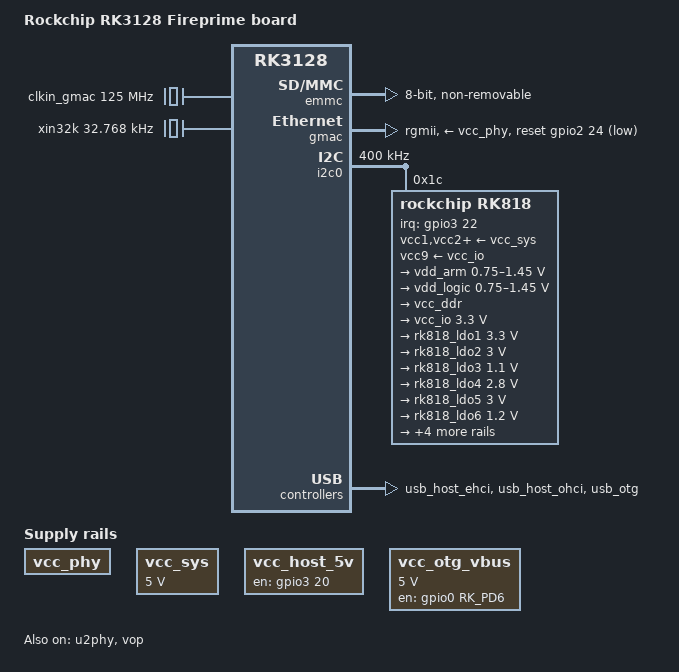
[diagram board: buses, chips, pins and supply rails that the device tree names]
/*
 * This file is dual-licensed: you can use it either under the terms
 * of the GPL or the X11 license, at your option. Note that this dual
 * licensing only applies to this file, and not this project as a
 * whole.
 *
 *  a) This file is free software; you can redistribute it and/or
 *     modify it under the terms of the GNU General Public License as
 *     published by the Free Software Foundation; either version 2 of the
 *     License, or (at your option) any later version.
 *
 *     This file is distributed in the hope that it will be useful,
 *     but WITHOUT ANY WARRANTY; without even the implied warranty of
 *     MERCHANTABILITY or FITNESS FOR A PARTICULAR PURPOSE.  See the
 *     GNU General Public License for more details.
 *
 *  Or, alternatively,
 *
 *  b) Permission is hereby granted, free of charge, to any person
 *     obtaining a copy of this software and associated documentation
 *     files (the "Software"), to deal in the Software without
 *     restriction, including without limitation the rights to use,
 *     copy, modify, merge, publish, distribute, sublicense, and/or
 *     sell copies of the Software, and to permit persons to whom the
 *     Software is furnished to do so, subject to the following
 *     conditions:
 *
 *     The above copyright notice and this permission notice shall be
 *     included in all copies or substantial portions of the Software.
 *
 *     THE SOFTWARE IS PROVIDED "AS IS", WITHOUT WARRANTY OF ANY KIND,
 *     EXPRESS OR IMPLIED, INCLUDING BUT NOT LIMITED TO THE WARRANTIES
 *     OF MERCHANTABILITY, FITNESS FOR A PARTICULAR PURPOSE AND
 *     NONINFRINGEMENT. IN NO EVENT SHALL THE AUTHORS OR COPYRIGHT
 *     HOLDERS BE LIABLE FOR ANY CLAIM, DAMAGES OR OTHER LIABILITY,
 *     WHETHER IN AN ACTION OF CONTRACT, TORT OR OTHERWISE, ARISING
 *     FROM, OUT OF OR IN CONNECTION WITH THE SOFTWARE OR THE USE OR
 *     OTHER DEALINGS IN THE SOFTWARE.
 */

/dts-v1/;
#include <dt-bindings/gpio/gpio.h>
#include <dt-bindings/pinctrl/rockchip.h>
#include <dt-bindings/pwm/pwm.h>
#include "rk3128.dtsi"
#include "rk312x-android.dtsi"

/ {
	model = "Rockchip RK3128 Fireprime board";
	compatible = "rockchip,rk3128";

	fiq-debugger {
		compatible = "rockchip,fiq-debugger";
		rockchip,serial-id = <2>;
		rockchip,signal-irq = <159>;
		rockchip,wake-irq = <0>;
		/* If enable uart uses irq instead of fiq */
		rockchip,irq-mode-enable = <1>;
		rockchip,baudrate = <115200>;  /* Only 115200 and 1500000 */
		interrupts = <GIC_SPI 127 IRQ_TYPE_LEVEL_LOW>;
		status = "okay";
	};

	clkin_gmac: external-gmac-clock {
		compatible = "fixed-clock";
		clock-frequency = <125000000>;
		clock-output-names = "gmac_clkin";
		#clock-cells = <0>;
	};

	vcc_phy: vcc-phy-regulator {
		compatible = "regulator-fixed";
		enable-active-high;
		regulator-name = "vcc_phy";
		regulator-always-on;
		regulator-boot-on;
	};

	vcc_sys: vcc-sys {
		compatible = "regulator-fixed";
		regulator-name = "vcc_sys";
		regulator-always-on;
		regulator-boot-on;
		regulator-min-microvolt = <5000000>;
		regulator-max-microvolt = <5000000>;
	};

	vcc_host_5v: vcc-host-5v-regulator {
		compatible = "regulator-fixed";
		enable-active-high;
		gpio = <&gpio3 20 GPIO_ACTIVE_HIGH>;
		pinctrl-names = "default";
		pinctrl-0 = <&host_vbus_drv>;
		regulator-name = "vcc_host_5v";
		regulator-always-on;
	};

	vcc_otg_vbus: otg-vbus-regulator {
		compatible = "regulator-fixed";
		gpio = <&gpio0 RK_PD6 GPIO_ACTIVE_HIGH>;
		pinctrl-names = "default";
		pinctrl-0 = <&otg_vbus_drv>;
		regulator-name = "vcc_otg_vbus";
		regulator-min-microvolt = <5000000>;
		regulator-max-microvolt = <5000000>;
		enable-active-high;
	};

	xin32k: xin32k {
		compatible = "fixed-clock";
		clock-frequency = <32768>;
		clock-output-names = "xin32k";
		#clock-cells = <0>;
	};
};

&cma_region {
	/delete-property/ reg;
};

&cpu0 {
	cpu-supply = <&vdd_arm>;
};

&emmc {
	bus-width = <8>;
	cap-mmc-highspeed;
	supports-emmc;
	disable-wp;
	non-removable;
	num-slots = <1>;
	pinctrl-names = "default";
	pinctrl-0 = <&emmc_clk &emmc_cmd &emmc_bus8>;
	status = "okay";
};

&gmac {
	assigned-clocks = <&cru SCLK_MAC>;
	assigned-clock-parents = <&clkin_gmac>;
	clock_in_out = "input";
	pinctrl-names = "default";
	pinctrl-0 = <&rgmii_pins>;
	phy-supply = <&vcc_phy>;
	phy-mode = "rgmii";
	snps,reset-active-low;
	snps,reset-delays-us = <0 10000 50000>;
	snps,reset-gpio = <&gpio2 24 GPIO_ACTIVE_LOW>;
	tx_delay = <0x30>;
	rx_delay = <0x16>;
	status = "okay";
};

&i2c0 {
	status = "okay";
	clock-frequency = <400000>;

	rk818: pmic@1c {
		compatible = "rockchip,rk818";
		status = "okay";
		reg = <0x1c>;
		clock-output-names = "rk818-clkout1", "wifibt_32kin";
		interrupt-parent = <&gpio3>;
		interrupts = <22 IRQ_TYPE_LEVEL_LOW>;
		pinctrl-names = "default";
		pinctrl-0 = <&pmic_int_l>;
		rockchip,system-power-controller;
		wakeup-source;
		#clock-cells = <1>;

		vcc1-supply = <&vcc_sys>;
		vcc2-supply = <&vcc_sys>;
		vcc3-supply = <&vcc_sys>;
		vcc4-supply = <&vcc_sys>;
		vcc6-supply = <&vcc_sys>;
		vcc7-supply = <&vcc_sys>;
		vcc8-supply = <&vcc_sys>;
		vcc9-supply = <&vcc_io>;

		regulators {
			vdd_arm: DCDC_REG1 {
				regulator-name = "vdd_arm";
				regulator-always-on;
				regulator-boot-on;
				regulator-min-microvolt = <750000>;
				regulator-max-microvolt = <1450000>;
				regulator-ramp-delay = <6001>;
				regulator-state-mem {
					regulator-on-in-suspend;
					regulator-suspend-microvolt = <1100000>;
				};
			};

			vdd_logic: DCDC_REG2 {
				regulator-name = "vdd_logic";
				regulator-always-on;
				regulator-boot-on;
				regulator-min-microvolt = <750000>;
				regulator-max-microvolt = <1450000>;
				regulator-ramp-delay = <6001>;
				regulator-state-mem {
					regulator-on-in-suspend;
					regulator-suspend-microvolt = <1100000>;
				};
			};

			vcc_ddr: DCDC_REG3 {
				regulator-name = "vcc_ddr";
				regulator-always-on;
				regulator-boot-on;
				regulator-state-mem {
					regulator-on-in-suspend;
				};
			};

			vcc_io: DCDC_REG4 {
				regulator-name = "vcc_io";
				regulator-always-on;
				regulator-boot-on;
				regulator-min-microvolt = <3300000>;
				regulator-max-microvolt = <3300000>;
				regulator-state-mem {
					regulator-on-in-suspend;
					regulator-suspend-microvolt = <3300000>;
				};
			};

			rk818_ldo1: LDO_REG1 {
				regulator-name = "rk818_ldo1";
				regulator-always-on;
				regulator-boot-on;
				regulator-min-microvolt = <3300000>;
				regulator-max-microvolt = <3300000>;
				regulator-state-mem {
					regulator-on-in-suspend;
					regulator-suspend-microvolt = <3300000>;
				};
			};

			rk818_ldo2: LDO_REG2 {
				regulator-name = "rk818_ldo2";
				regulator-always-on;
				regulator-boot-on;
				regulator-min-microvolt = <3000000>;
				regulator-max-microvolt = <3000000>;
				regulator-state-mem {
					regulator-on-in-suspend;
					regulator-suspend-microvolt = <3000000>;
				};
			};

			rk818_ldo3: LDO_REG3 {
				regulator-name = "rk818_ldo3";
				regulator-always-on;
				regulator-boot-on;
				regulator-min-microvolt = <1100000>;
				regulator-max-microvolt = <1100000>;
				regulator-state-mem {
					regulator-on-in-suspend;
					regulator-suspend-microvolt = <1100000>;
				};
			};

			rk818_ldo4: LDO_REG4 {
				regulator-name = "rk818_ldo4";
				regulator-always-on;
				regulator-boot-on;
				regulator-min-microvolt = <2800000>;
				regulator-max-microvolt = <2800000>;
				regulator-state-mem {
					regulator-on-in-suspend;
					regulator-suspend-microvolt = <2800000>;
				};
			};

			rk818_ldo5: LDO_REG5 {
				regulator-name = "rk818_ldo5";
				regulator-always-on;
				regulator-boot-on;
				regulator-min-microvolt = <3000000>;
				regulator-max-microvolt = <3000000>;
				regulator-state-mem {
					regulator-on-in-suspend;
					regulator-suspend-microvolt = <3000000>;
				};
			};

			rk818_ldo6: LDO_REG6 {
				regulator-name = "rk818_ldo6";
				regulator-always-on;
				regulator-boot-on;
				regulator-min-microvolt = <1200000>;
				regulator-max-microvolt = <1200000>;
				regulator-state-mem {
					regulator-on-in-suspend;
					regulator-suspend-microvolt = <1200000>;
				};
			};

			rk818_ldo7: LDO_REG7 {
				regulator-name = "rk818_ldo7";
				regulator-always-on;
				regulator-boot-on;
				regulator-min-microvolt = <1800000>;
				regulator-max-microvolt = <1800000>;
				regulator-state-mem {
					regulator-on-in-suspend;
					regulator-suspend-microvolt = <1800000>;
				};
			};

			rk818_ldo8: LDO_REG8 {
				regulator-name = "rk818_ldo8";
				regulator-always-on;
				regulator-boot-on;
				regulator-min-microvolt = <1800000>;
				regulator-max-microvolt = <1800000>;
				regulator-state-mem {
					regulator-on-in-suspend;
					regulator-suspend-microvolt = <1800000>;
				};
			};

			vcc_sd: LDO_REG9 {
				regulator-name = "vcc_sd";
				regulator-always-on;
				regulator-boot-on;
				regulator-min-microvolt = <1800000>;
				regulator-max-microvolt = <3000000>;
				regulator-state-mem {
					regulator-on-in-suspend;
					regulator-suspend-microvolt = <3000000>;
				};
			};

			rk818_ldo10: SWITCH_REG {
				regulator-name = "rk818_ldo10";
				regulator-always-on;
				regulator-boot-on;
				regulator-state-mem {
					regulator-on-in-suspend;
				};
			};
		};

		battery {
			compatible = "rk818-battery";
			ocv_table = <3400 3650 3693 3707 3731 3749 3760
				     3770 3782 3796 3812 3829 3852 3882
				     3915 3951 3981 4047 4086 4132 4182>;
			design_capacity = <4000>;
			design_qmax = <4000>;
			bat_res = <100>;
			max_input_current = <2000>;
			max_chrg_current = <1400>;
			max_chrg_voltage = <4200>;
			sleep_enter_current = <300>;
			sleep_exit_current = <300>;
			power_off_thresd = <3400>;
			zero_algorithm_vol = <3850>;
			energy_mode = <0>;
			fb_temperature = <105>;
			sample_res = <20>;
			max_soc_offset = <60>;
			monitor_sec = <5>;
			virtual_power = <1>;
			power_dc2otg = <0>;
		};
	};
};

&pinctrl {
	pmic {
		pmic_int_l: pmic-int-l {
			rockchip,pins = <3 RK_PC6 RK_FUNC_GPIO &pcfg_pull_default>;
		};
	};

	usb2 {
		host_vbus_drv: host-vbus-drv {
			rockchip,pins = <3 RK_PC4 RK_FUNC_GPIO &pcfg_pull_none>;
		};

		otg_vbus_drv: otg-vbus-drv {
			rockchip,pins = <0 RK_PD6 RK_FUNC_GPIO &pcfg_pull_none>;
		};
	};
};

&sdmmc {
	cap-mmc-highspeed;
	supports-sd;
	broken-cd;
	card-detect-delay = <800>;
	ignore-pm-notify;
	keep-power-in-suspend;
	cd-gpios = <&gpio1 17 GPIO_ACTIVE_HIGH>; /* CD GPIO */
	status = "disabled";
};

&sdio {
	cap-mmc-highspeed;
	supports-sdio;
	ignore-pm-notify;
	keep-power-in-suspend;
	non-removable;
	cap-sdio-irq;
	status = "disabled";
};

&u2phy {
	status = "okay";

	u2phy_otg: otg-port {
		vbus-supply = <&vcc_otg_vbus>;
		status = "okay";
	};

	u2phy_host: host-port {
		phy-supply = <&vcc_host_5v>;
		status = "okay";
	};
};

&usb_host_ehci {
	status = "okay";
};

&usb_host_ohci {
	status = "okay";
};

&usb_otg {
	status = "okay";
};

&vop {
	status = "okay";
};

&vop_mmu {
	status = "okay";
};
